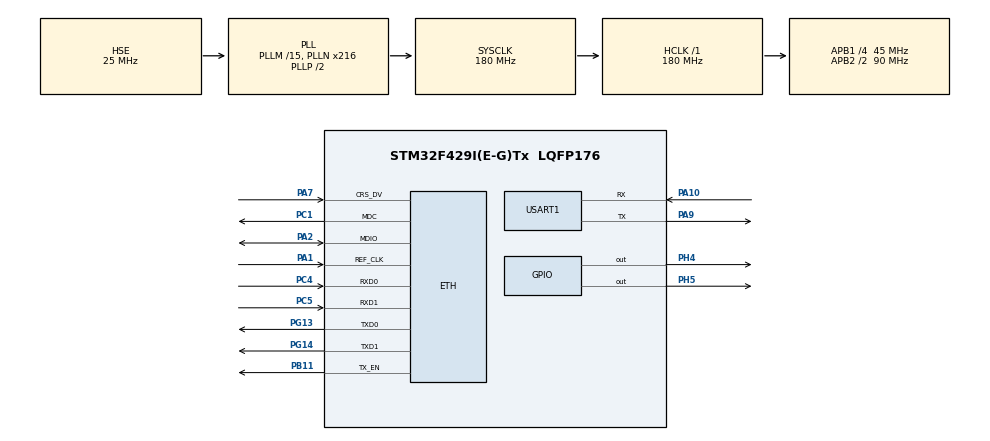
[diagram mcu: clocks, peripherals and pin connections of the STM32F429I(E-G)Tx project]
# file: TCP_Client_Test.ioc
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ETH.MediaInterface=HAL_ETH_RMII_MODE
LWIP.BSP.number=1
LWIP.GATEWAY_ADDRESS=192.168.137.001
LWIP.IP_ADDRESS=192.168.137.100
LWIP.LWIP_DHCP=0
LWIP.NETMASK_ADDRESS=255.255.255.000
LWIP.Version=v2.1.2_Cube
LWIP0.BSP.STBoard=false
LWIP0.BSP.api=BSP_COMPONENT_DRIVER
LWIP0.BSP.component=LAN8742
LWIP0.BSP.instance=LAN8742
LWIP0.BSP.name=Driver_PHY
LWIP0.BSP.semaphore=S_LAN8742
LWIP0.BSP.solution=LAN8742
Mcu.Family=STM32F4
Mcu.Name=STM32F429I(E-G)Tx
Mcu.Package=LQFP176
NVIC.ETH_IRQn=true\:0\:0\:false\:false\:true\:true\:true\:true
NVIC.ETH_WKUP_IRQn=true\:0\:0\:false\:false\:true\:true\:true\:true
NVIC.PriorityGroup=NVIC_PRIORITYGROUP_4
PA1.Mode=RMII
PA1.Signal=ETH_REF_CLK
PA10.Mode=Asynchronous
PA10.Signal=USART1_RX
PA13.Mode=Serial_Wire
PA13.Signal=SYS_JTMS-SWDIO
PA14.Mode=Serial_Wire
PA14.Signal=SYS_JTCK-SWCLK
PA2.Mode=RMII
PA2.Signal=ETH_MDIO
PA7.Mode=RMII
PA7.Signal=ETH_CRS_DV
PA9.Mode=Asynchronous
PA9.Signal=USART1_TX
PB11.Mode=RMII
PB11.Signal=ETH_TX_EN
PC1.Mode=RMII
PC1.Signal=ETH_MDC
PC4.Mode=RMII
PC4.Signal=ETH_RXD0
PC5.Mode=RMII
PC5.Signal=ETH_RXD1
PG13.Mode=RMII
PG13.Signal=ETH_TXD0
PG14.Mode=RMII
PG14.Signal=ETH_TXD1
PH0/OSC_IN.Mode=HSE-External-Oscillator
PH0/OSC_IN.Signal=RCC_OSC_IN
PH1/OSC_OUT.Mode=HSE-External-Oscillator
PH1/OSC_OUT.Signal=RCC_OSC_OUT
PH4.GPIO_ModeDefaultOutputPP=GPIO_MODE_OUTPUT_OD
PH4.GPIO_PuPd=GPIO_NOPULL
PH4.Signal=GPIO_Output
PH5.GPIO_ModeDefaultOutputPP=GPIO_MODE_OUTPUT_OD
PH5.GPIO_PuPd=GPIO_NOPULL
PH5.Signal=GPIO_Output
ProjectManager.HeapSize=0x400
ProjectManager.StackSize=0x1000
ProjectManager.TargetToolchain=Makefile
RCC.48MHZClocksFreq_Value=90000000
RCC.AHBFreq_Value=180000000
RCC.APB1CLKDivider=RCC_HCLK_DIV4
RCC.APB1Freq_Value=45000000
RCC.APB1TimFreq_Value=90000000
RCC.APB2CLKDivider=RCC_HCLK_DIV2
RCC.APB2Freq_Value=90000000
RCC.APB2TimFreq_Value=180000000
RCC.CortexFreq_Value=180000000
RCC.HCLKFreq_Value=180000000
RCC.HSE_VALUE=25000000
RCC.HSI_VALUE=16000000
RCC.LSE_VALUE=32768
RCC.PLLM=15
RCC.PLLN=216
RCC.PLLSourceVirtual=RCC_PLLSOURCE_HSE
RCC.SYSCLKFreq_VALUE=180000000
RCC.SYSCLKSource=RCC_SYSCLKSOURCE_PLLCLK
RCC.VCOOutputFreq_Value=360000000
USART1.VirtualMode=VM_ASYNC
VP_LWIP_VS_Enabled.Mode=Enabled
board=custom

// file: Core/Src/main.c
/* USER CODE BEGIN Header */
/**
 ******************************************************************************
 * @file           : main.c
 * @brief          : Main program body
 ******************************************************************************
 * @attention
 *
 * Copyright (c) 2025 STMicroelectronics.
 * All rights reserved.
 *
 * This software is licensed under terms that can be found in the LICENSE file
 * in the root directory of this software component.
 * If no LICENSE file comes with this software, it is provided AS-IS.
 *
 ******************************************************************************
 */
/* USER CODE END Header */
#include "main.h"
#include "lwip.h"
#include "usart.h"
#include "gpio.h"

/* USER CODE BEGIN Includes */
#include "pcf8574.h"
#include "lwip/tcp.h"
#include "string.h"
#include "user_printf.h"
/* USER CODE END Includes */

/* USER CODE BEGIN PD */
#define TCP_Client_PORT 8087
/* USER CODE END PD */

void SystemClock_Config(void);

/* USER CODE BEGIN 0 */
void TCP_Client_Init(void);

static struct tcp_pcb *client_pcb = NULL;

static void client_err(void *arg, err_t err)
{
    printf("connect error! closed by core!!\n");
    printf("try to connect to server again!!\n");
    tcp_close(client_pcb); // 连接失败的时候释放TCP控制块的内存
    TCP_Client_Init();     // 重新连接
}

static err_t client_send(void *arg, struct tcp_pcb *tpcb)
{
    uint8_t send_buf[] = "This is a TCP Client test...\n";
    tcp_write(tpcb, send_buf, sizeof(send_buf), 1); // 发送数据到服务器
    return ERR_OK;
}

static err_t client_recv(void *arg, struct tcp_pcb *tpcb, struct pbuf *p, err_t err)
{
    if (p != NULL) {
        tcp_recved(tpcb, p->tot_len);               // 更新窗口
        tcp_write(tpcb, p->payload, p->tot_len, 1); // 返回接收数据
        memset(p->payload, 0, p->tot_len);
        pbuf_free(p);
    } else if (err == ERR_OK) {
        printf("server has been disconnected!\n");
        tcp_close(tpcb);
        TCP_Client_Init(); // 重新连接
    }
    return ERR_OK;
}

static err_t client_connected(void *arg, struct tcp_pcb *pcb, err_t err)
{
    printf("connected ok!\n");
    tcp_poll(pcb, client_send, 2); // 注册一个周期性回调函数
    tcp_recv(pcb, client_recv);    // 注册一个接收函数
    return ERR_OK;
}

void TCP_Client_Init(void)
{
    ip4_addr_t server_ip;
    client_pcb = tcp_new();
    IP4_ADDR(&server_ip, 192, 168, 137, 001);

    if (client_pcb) {
        printf("client start connect!\n");
        tcp_connect(client_pcb, &server_ip,  TCP_Client_PORT, client_connected);
        tcp_err(client_pcb, client_err);
    } else {
        printf("init fail!\n");
    }
}
/* USER CODE END 0 */

int main(void)
{

    /* MCU Configuration--------------------------------------------------------*/

    /* Reset of all peripherals, Initializes the Flash interface and the Systick. */
    HAL_Init();

    /* Configure the system clock */
    SystemClock_Config();

    /* Initialize all configured peripherals */
    MX_GPIO_Init();
    MX_USART1_UART_Init();
    MX_LWIP_Init();
    /* USER CODE BEGIN 2 */
    RetargetInit(&huart1);
    HAL_Delay(100);
    PCF8574_Init();
    PCF8574_Write_Bit(7, 1);
    HAL_Delay(100);
    PCF8574_Write_Bit(7, 0);
    HAL_Delay(100);
    TCP_Client_Init();
    /* USER CODE END 2 */

    /* Infinite loop */
    while (1) {

        /* USER CODE BEGIN 3 */
        MX_LWIP_Process();
    }
    /* USER CODE END 3 */
}

void SystemClock_Config(void)
{
    RCC_OscInitTypeDef RCC_OscInitStruct = {0};
    RCC_ClkInitTypeDef RCC_ClkInitStruct = {0};

    /** Configure the main internal regulator output voltage
     */
    __HAL_RCC_PWR_CLK_ENABLE();
    __HAL_PWR_VOLTAGESCALING_CONFIG(PWR_REGULATOR_VOLTAGE_SCALE1);

    /** Initializes the RCC Oscillators according to the specified parameters
     * in the RCC_OscInitTypeDef structure.
     */
    RCC_OscInitStruct.OscillatorType = RCC_OSCILLATORTYPE_HSE;
    RCC_OscInitStruct.HSEState       = RCC_HSE_ON;
    RCC_OscInitStruct.PLL.PLLState   = RCC_PLL_ON;
    RCC_OscInitStruct.PLL.PLLSource  = RCC_PLLSOURCE_HSE;
    RCC_OscInitStruct.PLL.PLLM       = 15;
    RCC_OscInitStruct.PLL.PLLN       = 216;
    RCC_OscInitStruct.PLL.PLLP       = RCC_PLLP_DIV2;
    RCC_OscInitStruct.PLL.PLLQ       = 4;
    if (HAL_RCC_OscConfig(&RCC_OscInitStruct) != HAL_OK) {
        Error_Handler();
    }

    /** Activate the Over-Drive mode
     */
    if (HAL_PWREx_EnableOverDrive() != HAL_OK) {
        Error_Handler();
    }

    /** Initializes the CPU, AHB and APB buses clocks
     */
    RCC_ClkInitStruct.ClockType      = RCC_CLOCKTYPE_HCLK | RCC_CLOCKTYPE_SYSCLK | RCC_CLOCKTYPE_PCLK1 | RCC_CLOCKTYPE_PCLK2;
    RCC_ClkInitStruct.SYSCLKSource   = RCC_SYSCLKSOURCE_PLLCLK;
    RCC_ClkInitStruct.AHBCLKDivider  = RCC_SYSCLK_DIV1;
    RCC_ClkInitStruct.APB1CLKDivider = RCC_HCLK_DIV4;
    RCC_ClkInitStruct.APB2CLKDivider = RCC_HCLK_DIV2;

    if (HAL_RCC_ClockConfig(&RCC_ClkInitStruct, FLASH_LATENCY_5) != HAL_OK) {
        Error_Handler();
    }
}

void Error_Handler(void)
{
    __disable_irq();
    while (1) {
    }
}
